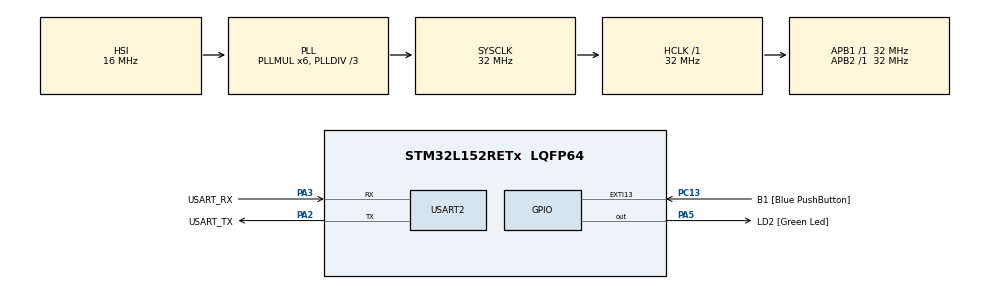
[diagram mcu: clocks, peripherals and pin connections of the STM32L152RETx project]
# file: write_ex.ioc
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Mcu.Family=STM32L1
Mcu.Name=STM32L152RETx
Mcu.Package=LQFP64
NVIC.PriorityGroup=NVIC_PRIORITYGROUP_0
PA13.GPIO_Label=TMS
PA13.Mode=Serial_Wire
PA13.Signal=SYS_JTMS-SWDIO
PA14.GPIO_Label=TCK
PA14.Mode=Serial_Wire
PA14.Signal=SYS_JTCK-SWCLK
PA2.GPIO_Label=USART_TX
PA2.Mode=Asynchronous
PA2.Signal=USART2_TX
PA3.GPIO_Label=USART_RX
PA3.Mode=Asynchronous
PA3.Signal=USART2_RX
PA5.GPIO_Label=LD2 [Green Led]
PA5.Signal=GPIO_Output
PB3.GPIO_Label=SWO
PB3.Signal=SYS_JTDO-TRACESWO
PC13-WKUP2.GPIO_Label=B1 [Blue PushButton]
PC13-WKUP2.Signal=GPXTI13
PC14-OSC32_IN.Mode=LSE-External-Oscillator
PC14-OSC32_IN.Signal=RCC_OSC32_IN
PC15-OSC32_OUT.Mode=LSE-External-Oscillator
PC15-OSC32_OUT.Signal=RCC_OSC32_OUT
PH0-OSC_IN.Mode=HSE-External-Clock-Source
PH0-OSC_IN.Signal=RCC_OSC_IN
PH1-OSC_OUT.Signal=RCC_OSC_OUT
ProjectManager.HeapSize=0x200
ProjectManager.StackSize=0x400
ProjectManager.TargetToolchain=STM32CubeIDE
RCC.48MHZClocksFreq_Value=48000000
RCC.AHBFreq_Value=32000000
RCC.APB1Freq_Value=32000000
RCC.APB1TimFreq_Value=32000000
RCC.APB2Freq_Value=32000000
RCC.APB2TimFreq_Value=32000000
RCC.HCLKFreq_Value=32000000
RCC.HSE_VALUE=8000000
RCC.HSI_VALUE=16000000
RCC.MSI_VALUE=2097000
RCC.PLLDIV=RCC_PLL_DIV3
RCC.PLLMUL=RCC_PLL_MUL6
RCC.RTCClockSelectionVirtual=RCC_RTCCLKSOURCE_LSE
RCC.SYSCLKFreq_VALUE=32000000
RCC.SYSCLKSource=RCC_SYSCLKSOURCE_PLLCLK
RCC.USBOutput=48000000
RCC.VCOOutputFreq_Value=96000000
USART2.VirtualMode=VM_ASYNC
board=NUCLEO-L152RE

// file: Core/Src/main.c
/* USER CODE BEGIN Header */
/**
  ******************************************************************************
  * @file           : main.c
  * @brief          : Main program body
  ******************************************************************************
  * @attention
  *
  * Copyright (c) 2024 STMicroelectronics.
  * All rights reserved.
  *
  * This software is licensed under terms that can be found in the LICENSE file
  * in the root directory of this software component.
  * If no LICENSE file comes with this software, it is provided AS-IS.
  *
  ******************************************************************************
  */
/* USER CODE END Header */
#include "main.h"
#include "usart.h"
#include "gpio.h"
#include "stdio.h"

void SystemClock_Config(void);

/* USER CODE BEGIN 0 */

//D2
#define PIN_1 GPIO_PIN_10
#define PORT_1 GPIOA
//D6
#define PIN_2 GPIO_PIN_10
#define PORT_2 GPIOB
//D9
#define PIN_3 GPIO_PIN_7
#define PORT_3 GPIOC

	void toggle_time(void){

		HAL_GPIO_WritePin(PORT_1,PIN_1,GPIO_PIN_SET); //port, pin, type

		HAL_Delay(1000);

		HAL_GPIO_WritePin(PORT_1,PIN_1,GPIO_PIN_RESET);

		HAL_Delay(1000);
	}

/* USER CODE END 0 */

int main(void)
{

  /* MCU Configuration--------------------------------------------------------*/

  /* Reset of all peripherals, Initializes the Flash interface and the Systick. */
  HAL_Init();

  /* Configure the system clock */
  SystemClock_Config();

  /* Initialize all configured peripherals */
  MX_GPIO_Init();
  MX_USART2_UART_Init();
  /* USER CODE BEGIN 2 */

  // enables the clock for the GPIOs

  __HAL_RCC_GPIOA_CLK_ENABLE();
  //__HAL_RCC_GPIOB_CLK_ENABLE();
  //__HAL_RCC_GPIOC_CLK_ENABLE();

  GPIO_InitTypeDef GPIO_InitStruct = {0};

  GPIO_InitStruct.Pin = PIN_1;
  GPIO_InitStruct.Mode = GPIO_MODE_OUTPUT_PP;
  GPIO_InitStruct.Pull = GPIO_NOPULL;
  GPIO_InitStruct.Speed = GPIO_SPEED_FREQ_LOW;
  HAL_GPIO_Init(GPIOA, &GPIO_InitStruct);

  /* USER CODE END 2 */

  /* Infinite loop */
  while (1)
  {
	  	  toggle_time();
  }
}

void SystemClock_Config(void)
{
  RCC_OscInitTypeDef RCC_OscInitStruct = {0};
  RCC_ClkInitTypeDef RCC_ClkInitStruct = {0};

  /** Configure the main internal regulator output voltage
  */
  __HAL_PWR_VOLTAGESCALING_CONFIG(PWR_REGULATOR_VOLTAGE_SCALE1);

  /** Initializes the RCC Oscillators according to the specified parameters
  * in the RCC_OscInitTypeDef structure.
  */
  RCC_OscInitStruct.OscillatorType = RCC_OSCILLATORTYPE_HSI;
  RCC_OscInitStruct.HSIState = RCC_HSI_ON;
  RCC_OscInitStruct.HSICalibrationValue = RCC_HSICALIBRATION_DEFAULT;
  RCC_OscInitStruct.PLL.PLLState = RCC_PLL_ON;
  RCC_OscInitStruct.PLL.PLLSource = RCC_PLLSOURCE_HSI;
  RCC_OscInitStruct.PLL.PLLMUL = RCC_PLL_MUL6;
  RCC_OscInitStruct.PLL.PLLDIV = RCC_PLL_DIV3;
  if (HAL_RCC_OscConfig(&RCC_OscInitStruct) != HAL_OK)
  {
    Error_Handler();
  }

  /** Initializes the CPU, AHB and APB buses clocks
  */
  RCC_ClkInitStruct.ClockType = RCC_CLOCKTYPE_HCLK|RCC_CLOCKTYPE_SYSCLK
                              |RCC_CLOCKTYPE_PCLK1|RCC_CLOCKTYPE_PCLK2;
  RCC_ClkInitStruct.SYSCLKSource = RCC_SYSCLKSOURCE_PLLCLK;
  RCC_ClkInitStruct.AHBCLKDivider = RCC_SYSCLK_DIV1;
  RCC_ClkInitStruct.APB1CLKDivider = RCC_HCLK_DIV1;
  RCC_ClkInitStruct.APB2CLKDivider = RCC_HCLK_DIV1;

  if (HAL_RCC_ClockConfig(&RCC_ClkInitStruct, FLASH_LATENCY_1) != HAL_OK)
  {
    Error_Handler();
  }
}

void Error_Handler(void)
{
  __disable_irq();
  while (1)
  {
  }
}
